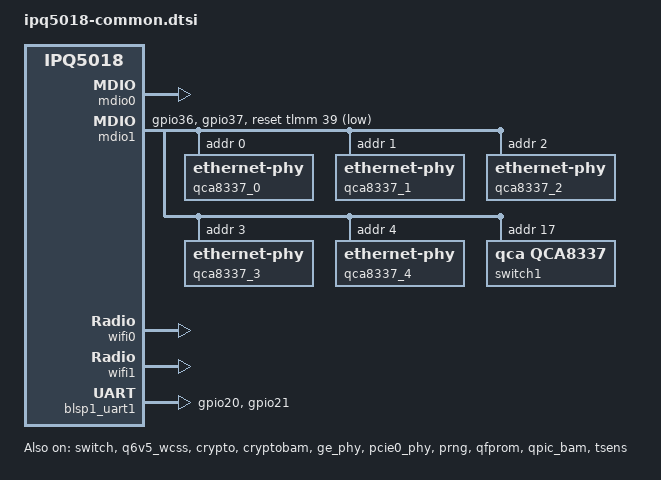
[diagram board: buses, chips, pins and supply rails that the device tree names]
// SPDX-License-Identifier: GPL-2.0-or-later OR MIT

/*
 * ==================================================================
 *     _______________________             _______________________
 *    |        IPQ5018        |           |        QCA8337        |
 *    | +------+   +--------+ |           | +--------+   +------+ |
 *    | | MAC0 |---| GE Phy | |           | |  Phy0  |---| MAC1 | |
 *    | +------+   +--------+ |           | +--------+   +------+ |
 *    | +------+   +--------+ |           | +--------+   +------+ |
 *    | | MAC1 |---| Uniphy | +-- SGMII --+ | SerDes |---| MAC6 | |
 *    | +------+   +--------+ |           | +--------+   +------+ |
 *    |_______________________|           |_______________________|
 *
 * ==================================================================
 *     _______________________             _______________________
 *    |        IPQ5018        |           |        QCA8337        |
 *    | +------+   +--------+ |           | +--------+   +------+ |
 *    | | MAC0 |---| GE Phy | +--- MDI ---+ | Phy4   |---| MAC5 | |
 *    | +------+   +--------+ |           | +--------+   +------+ |
 *    |                       |           |_______________________|
 *    |                       |            _______________________
 *    |                       |           |        QCA8081        |
 *    | +------+   +--------+ |           | +--------+   +------+ |
 *    | | MAC1 |---| Uniphy | +-- SGMII --+ | Phy    |---| MAC  | |
 *    | +------+   +--------+ |           | +--------+   +------+ |
 *    |_______________________|           |_______________________|
 *
 * ==================================================================
 *
 * +------------+------+--------------+--------------+
 * | Argument   | type | def val UPD2 | def val UPD3 |
 * +------------+------+--------------+--------------+
 * | PCIE Index | u32  | 0x02 (PCIE1) | 0x01 (PCIE0) |
 * | Length     | u32  | 0x04         | 0x04         |
 * | User PD ID | u32  | 0x02         | 0x03         |
 * | Reset GPIO | u32  | 0x12         | 0x0f         |
 * | Reserved 1 | u32  | 0x00         | 0x00         |
 * | Reserved 2 | u32  | 0x00         | 0x00         |
 * +------------+------+--------------+--------------+
 *
 * On IPQ5018/QCN6122 boards, the default mapping is as follows:
 *
 *           +-> UPD1 ----> IPQ5018 Internal 2.4G Radio
 *          /
 *         /
 * Root PD +---> UPD2 ----> QCN6122 6G Radio on PCIE1 (if available)
 *         \
 *          \
 *           +-> UPD3 ----> QCN6102 5G Radio on PCIE0
 * ==================================================================
 */

#include <dt-bindings/gpio/gpio.h>
#include <dt-bindings/input/input.h>
#include <dt-bindings/leds/common.h>

&tlmm {
	mdio1_pins: mdio-state {
		mdc-pins {
			pins = "gpio36";
			function = "mdc";
			drive-strength = <8>;
			bias-pull-up;
		};

		mdio-pins {
			pins = "gpio37";
			function = "mdio";
			drive-strength = <8>;
			bias-pull-up;
		};
	};

	qpic_pins: qpic-state {
		clk-pins {
			pins = "gpio9";
			function = "qspi_clk";
			drive-strength = <8>;
			bias-disable;
		};

		cs-pins {
			pins = "gpio8";
			function = "qspi_cs";
			drive-strength = <8>;
			bias-disable;
		};

		data-pins {
			pins = "gpio4", "gpio5", "gpio6", "gpio7";
			function = "qspi_data";
			drive-strength = <8>;
			bias-disable;
		};
	};

	emmc_pins: emmc-state {
		clk-pins {
			pins = "gpio9";
			function = "sdc1_clk";
			drive-strength = <8>;
			bias-disable;
		};

		cmd-pins {
			pins = "gpio8";
			function = "sdc1_cmd";
			drive-strength = <8>;
			bias-pull-up;
		};

		data-pins {
			pins = "gpio4", "gpio5", "gpio6", "gpio7";
			function = "sdc1_data";
			drive-strength = <8>;
			bias-disable;
		};
	};

	serial_0_pins: uart0-state {
		pins = "gpio20", "gpio21";
		function = "blsp0_uart0";
		bias-disable;
	};
};

&switch {
	status = "okay";

	switch_mac_mode = <MAC_MODE_SGMII_PLUS>;

	qcom,port_phyinfo {
		// MAC0 -> GE Phy --- MDI --- QCA8337 Switch
		port@0 {
			port_id = <1>;
			mdiobus = <&mdio0>;
			phy_address = <7>;
		};

		// MAC1 ---SGMII---> QCA8337 SerDes
		port@1 {
			port_id = <2>;
			forced-speed = <1000>;
			forced-duplex = <1>;
		};
	};
};

&mdio0 {
	status = "okay";
};

&mdio1 {
	status = "okay";

	pinctrl-0 = <&mdio1_pins>;
	pinctrl-names = "default";
	reset-gpios = <&tlmm 39 GPIO_ACTIVE_LOW>;

	// QCA8337 Phy
	qca8337_0: ethernet-phy@0 {
		reg = <0>;
	};
	qca8337_1: ethernet-phy@1 {
		reg = <1>;
	};
	qca8337_2: ethernet-phy@2 {
		reg = <2>;
	};
	qca8337_3: ethernet-phy@3 {
		reg = <3>;
	};
	qca8337_4: ethernet-phy@4 {
		reg = <4>;
	};

	// QCA8337 Switch
	switch1: ethernet-switch@17 {
		compatible = "qca,qca8337";
		#address-cells = <1>;
		#size-cells = <0>;
		reg = <17>;

		ports {
			port@1 {
				reg = <1>;
				phy-handle = <&qca8337_0>;
			};
			port@2 {
				reg = <2>;
				phy-handle = <&qca8337_1>;
			};
			port@3 {
				reg = <3>;
				phy-handle = <&qca8337_2>;
			};
			port@4 {
				reg = <4>;
				phy-handle = <&qca8337_3>;
			};
			port@5 {
				reg = <5>;
				phy-handle = <&qca8337_4>;
			};
		};
	};
};

&q6v5_wcss {
	status = "okay";

	memory-region = <&q6_mem_regions>;
	firmware-name = "ath11k/IPQ5018/hw1.0/q6_fw.mdt", "ath11k/IPQ5018/hw1.0/m3_fw.mdt", "ath11k/QCN6122/hw1.0/m3_fw.mdt";

	// IPQ5018
	q6_wcss_pd1: pd-1 {
		firmware-name = "ath11k/IPQ5018/hw1.0/q6_fw.mdt", "ath11k/IPQ5018/hw1.0/m3_fw.mdt";

		resets = <&gcc GCC_WCSSAON_RESET>, <&gcc GCC_WCSS_BCR>, <&gcc GCC_CE_BCR>;
		reset-names = "wcss_aon_reset", "wcss_reset", "ce_reset";

		clocks = <&gcc GCC_WCSS_AHB_S_CLK>, <&gcc GCC_WCSS_ACMT_CLK>, <&gcc GCC_WCSS_AXI_M_CLK>;
		clock-names = "gcc_wcss_ahb_s_clk", "gcc_wcss_acmt_clk", "gcc_wcss_axi_m_clk";

		interrupts-extended = <&wcss_smp2p_in 8 IRQ_TYPE_NONE>, <&wcss_smp2p_in 9 IRQ_TYPE_NONE>, <&wcss_smp2p_in 12 IRQ_TYPE_NONE>, <&wcss_smp2p_in 11 IRQ_TYPE_NONE>;
		interrupt-names = "fatal", "ready", "spawn-ack", "stop-ack";

		qcom,smem-states = <&wcss_smp2p_out 8>, <&wcss_smp2p_out 9>, <&wcss_smp2p_out 10>;
		qcom,smem-state-names = "shutdown", "stop", "spawn";
	};

	// QCN6102 5G
	q6_wcss_pd2: pd-2 {
		firmware-name = "ath11k/IPQ5018/hw1.0/q6_fw.mdt", "ath11k/QCN6122/hw1.0/m3_fw.mdt";

		interrupts-extended = <&wcss_smp2p_in 16 IRQ_TYPE_NONE>, <&wcss_smp2p_in 17 IRQ_TYPE_NONE>, <&wcss_smp2p_in 20 IRQ_TYPE_NONE>, <&wcss_smp2p_in 19 IRQ_TYPE_NONE>;
		interrupt-names = "fatal", "ready", "spawn-ack", "stop-ack";

		qcom,smem-states = <&wcss_smp2p_out 16>, <&wcss_smp2p_out 17>, <&wcss_smp2p_out 18>;
		qcom,smem-state-names = "shutdown", "stop", "spawn";
	};

	// QCN6102 6G
	q6_wcss_pd3: pd-3 {
		firmware-name = "ath11k/IPQ5018/hw1.0/q6_fw.mdt";

		interrupts-extended = <&wcss_smp2p_in 24 IRQ_TYPE_NONE>, <&wcss_smp2p_in 25 IRQ_TYPE_NONE>, <&wcss_smp2p_in 28 IRQ_TYPE_NONE>, <&wcss_smp2p_in 27 IRQ_TYPE_NONE>;
		interrupt-names = "fatal", "ready", "spawn-ack", "stop-ack";

		qcom,smem-states = <&wcss_smp2p_out 24>, <&wcss_smp2p_out 25>, <&wcss_smp2p_out 26>;
		qcom,smem-state-names = "shutdown", "stop", "spawn";
	};
};

// IPQ5018
&wifi0 {
	status = "okay";

	qcom,rproc = <&q6_wcss_pd1>;
	qcom,userpd-subsys-name = "q6v5_wcss_userpd1";
	qcom,ath11k-fw-memory-mode = <1>;
	qcom,bdf-addr = <0x4c400000>;
};

// QCN6102 5G
&wifi1 {
	status = "okay";

	qcom,rproc = <&q6_wcss_pd2>;
	qcom,userpd-subsys-name = "q6v5_wcss_userpd2";
	qcom,ath11k-fw-memory-mode = <1>;
	qcom,bdf-addr = <0x4d100000>;
	qcom,m3-dump-addr = <0x4df00000>;
};

&sleep_clk {
	clock-frequency = <32000>;
};

&xo_board_clk {
	clock-frequency = <24000000>;
};

&blsp1_uart1 {
	status = "okay";
	pinctrl-0 = <&serial_0_pins>;
	pinctrl-names = "default";
};

&crypto {
	status = "okay";
};

&cryptobam {
	status = "okay";
};

&ge_phy {
	status = "okay";
};

&pcie0_phy {
	status = "okay";
};

&prng {
	status = "okay";
};

&qfprom {
	status = "okay";
};

&qpic_bam {
	status = "okay";
};

&tsens {
	status = "okay";
};
